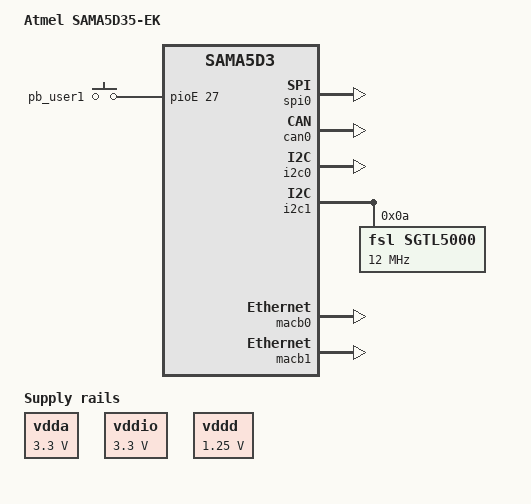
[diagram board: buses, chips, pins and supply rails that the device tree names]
/*
 * sama5d35ek.dts - Device Tree file for SAMA5-EK board
 *
 *  Copyright (C) 2012 Atmel,
 *                2012 Ludovic Desroches <ludovic.desroches@atmel.com>
 *
 * Licensed under GPLv2 or later.
 */
/dts-v1/;
/include/ "sama5d3mb.dtsi"

/ {
	model = "Atmel SAMA5D35-EK";
	compatible = "atmel,sama5d35ek", "atmel,sama5ek", "atmel,sama5d3", "atmel,sama5";

	chosen {
		bootargs = "console=ttyS0,115200 mtdparts=atmel_nand:8M(bootstrap/uboot/kernel)ro,-(rootfs) rw rootfstype=ubifs ubi.mtd=1 root=ubi0:rootfs";
	};

	vdda: fixedregulator@0 {
		compatible = "regulator-fixed";
		regulator-name = "VDDA";
		regulator-min-microvolt = <3300000>;
		regulator-max-microvolt = <3300000>;
	};

	vddio: fixedregulator@1 {
		compatible = "regulator-fixed";
		regulator-name = "VDDIO";
		regulator-min-microvolt = <3300000>;
		regulator-max-microvolt = <3300000>;
	};

	vddd: fixedregulator@2 {
		compatible = "regulator-fixed";
		regulator-name = "VDDD";
		regulator-min-microvolt = <1250000>;
		regulator-max-microvolt = <1250000>;
	};

	ahb {
		apb {
			spi0: spi@f0004000 {
				status = "okay";
			};

			can0: can@f000c000 {
				status = "okay";
			};

			i2c0: i2c@f0014000 {
				status = "okay";
			};

			i2c1: i2c@f0018000 {
				status = "okay";

				sgtl5000: sgtl5000@0a {
					compatible = "fsl,sgtl5000";
					reg = <0x0a>;
					clock-frequency = <12000000>;
					pinctrl-names = "default";
					pinctrl-0 = <&pinctrl_isi_pck_as_mck>;
				};
			};

			macb0: ethernet@f0028000 {
				status = "okay";
			};

			isi: isi@f0034000 {
				status = "disabled";
			};

			macb1: ethernet@f802c000 {
				status = "okay";
			};

			ssc0: ssc@f0008000 {
				status = "okay";
			};

			pinctrl@fffff200 {
				board {
					pinctrl_pck1_as_audio_mck: pck0_as_audio_mck {
						atmel,pins =
							<3 31 0x2 0x0>;	/* PD31 periph B */
					};
				};
			};
		};
	};

	gpio_keys {
		compatible = "gpio-keys";
		#address-cells = <1>;
		#size-cells = <0>;

		pb_user1 {
			label = "pb_user1";
			gpios = <&pioE 27 0>;
			linux,code = <0x100>;
			gpio-key,wakeup;
		};
	};

	sound {
		compatible = "atmel,sama5d3ek-sgtl5000";
		pinctrl-names = "default";
		pinctrl-0 = <&pinctrl_pck1_as_audio_mck>;

		atmel,model = "sgtl5000 @ SAMA5D3EK";
		atmel,audio-routing =
			"MIC_IN", "Mic Jack",
			"Mic Jack", "Mic Bias",
			"Headphone Jack", "HP_OUT";

		atmel,ssc-controller = <&ssc0>;
		atmel,audio-codec = <&sgtl5000>;
	};
};
